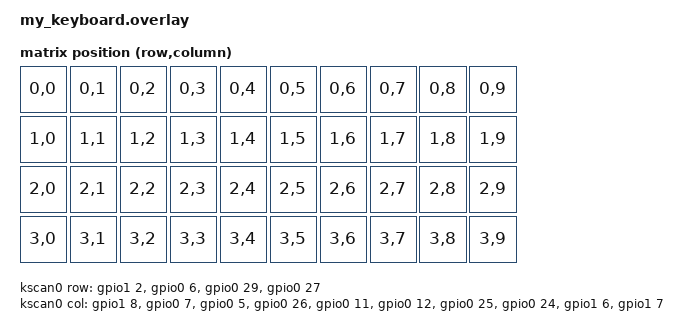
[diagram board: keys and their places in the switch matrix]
#include <dt-bindings/zmk/matrix_transform.h>

/ {
    chosen {
        zmk,kscan = &kscan0;
        zmk,matrix-transform = &default_transform;
    };

    kscan0: kscan {
        compatible = "zmk,kscan-gpio-matrix";
        wakeup-source;
        diode-direction = "col2row";

        /* Khai báo 4 Hàng */
        row-gpios
            = <&gpio1 2 (GPIO_ACTIVE_HIGH | GPIO_PULL_DOWN)>  /* D2: P1.02 */
            , <&gpio0 6 (GPIO_ACTIVE_HIGH | GPIO_PULL_DOWN)>  /* D3: P0.06 */
            , <&gpio0 29 (GPIO_ACTIVE_HIGH | GPIO_PULL_DOWN)> /* D4: P0.29 */
            , <&gpio0 27 (GPIO_ACTIVE_HIGH | GPIO_PULL_DOWN)> /* D5: P0.27 */
            ;

        /* Khai báo 10 Cột */
        col-gpios
            = <&gpio1 8 GPIO_ACTIVE_HIGH>   /* D7:  P1.08 */
            , <&gpio0 7 GPIO_ACTIVE_HIGH>   /* D9:  P0.07 */
            , <&gpio0 5 GPIO_ACTIVE_HIGH>   /* D10: P0.05 */
            , <&gpio0 26 GPIO_ACTIVE_HIGH>  /* D11: P0.26 */
            , <&gpio0 11 GPIO_ACTIVE_HIGH>  /* D12: P0.11 */
            , <&gpio0 12 GPIO_ACTIVE_HIGH>  /* D13: P0.12 */
            , <&gpio0 25 GPIO_ACTIVE_HIGH>  /* D0:  P0.25 (RX) */
            , <&gpio0 24 GPIO_ACTIVE_HIGH>  /* D1:  P0.24 (TX) */
            , <&gpio1 6 GPIO_ACTIVE_HIGH>   /* 38:  P1.06 */
            , <&gpio1 7 GPIO_ACTIVE_HIGH>   /* 39:  P1.07 */
            ;
    };

    default_transform: keymap_transform_0 {
        compatible = "zmk,matrix-transform";
        columns = <10>;
        rows = <4>;
        map = <
            RC(0,0) RC(0,1) RC(0,2) RC(0,3) RC(0,4) RC(0,5) RC(0,6) RC(0,7) RC(0,8) RC(0,9)
            RC(1,0) RC(1,1) RC(1,2) RC(1,3) RC(1,4) RC(1,5) RC(1,6) RC(1,7) RC(1,8) RC(1,9)
            RC(2,0) RC(2,1) RC(2,2) RC(2,3) RC(2,4) RC(2,5) RC(2,6) RC(2,7) RC(2,8) RC(2,9)
            RC(3,0) RC(3,1) RC(3,2) RC(3,3) RC(3,4) RC(3,5) RC(3,6) RC(3,7) RC(3,8) RC(3,9)
        >;
    };
};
